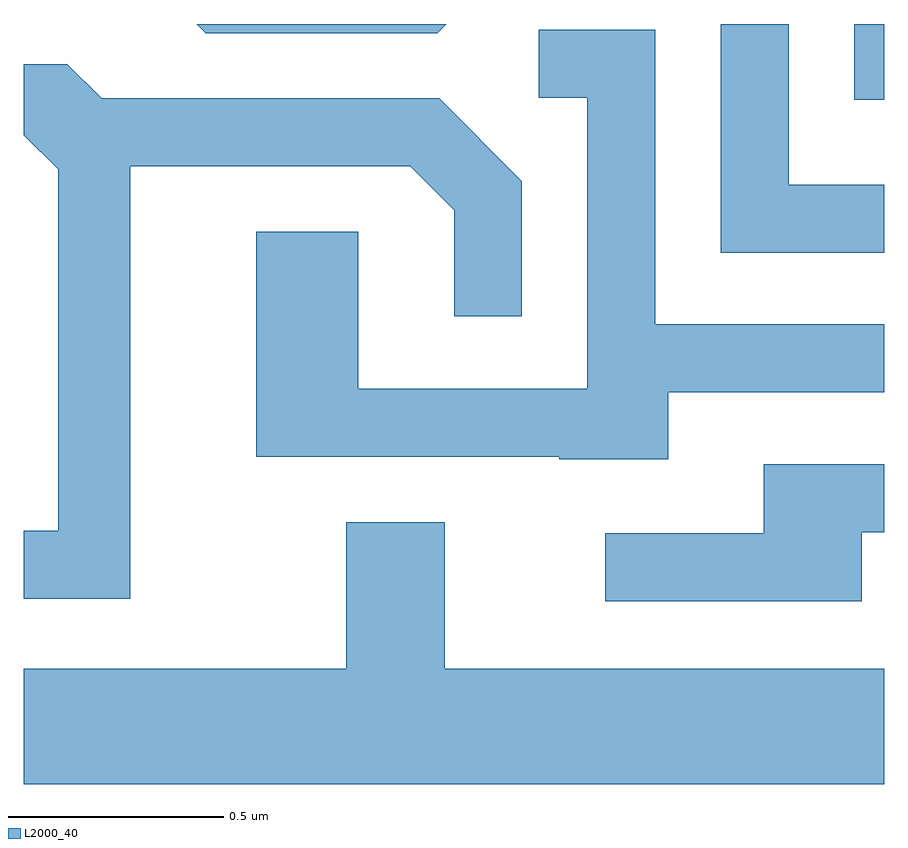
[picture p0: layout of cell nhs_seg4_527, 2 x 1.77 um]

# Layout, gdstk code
import gdstk
lib = gdstk.Library(unit=1e-6, precision=1e-09)
def R(c, l, rs):  # rectangles x0, y0, x1, y1
    for r in rs: c.add(gdstk.rectangle(r[:2], r[2:], *l))
def P(c, l, *ps):  # polygons
    for p in ps: c.add(gdstk.Polygon(p, *l))
L2000_40 = (2000, 40)

nhs_seg4_527 = lib.new_cell('nhs_seg4_527')
R(nhs_seg4_527, L2000_40, [(190.541,1371.806,190.611,1371.982)])
P(nhs_seg4_527, L2000_40, [(189.593,1371.982),(189.013,1371.982),(189.034,1371.961),(189.572,1371.961)],
  [(190.611,1371.609),(190.389,1371.609),(190.389,1371.982),(190.231,1371.982),(190.231,1371.451),(190.611,1371.451)],
  [(190.109,1371.126),(190.611,1371.126),(190.611,1371.284),(190.079,1371.284),(190.079,1371.969),(189.808,1371.969),(189.808,1371.811),(189.921,1371.811),(189.921,1371.134),(189.389,1371.134),(189.389,1371.499),(189.151,1371.499),(189.151,1370.976),(189.855,1370.976),(189.855,1370.971),(190.109,1370.971)],
  [(188.859,1371.651),(189.509,1371.651),(189.611,1371.549),(189.611,1371.303),(189.769,1371.303),(189.769,1371.617),(189.577,1371.809),(188.792,1371.809),(188.712,1371.889),(188.611,1371.889),(188.611,1371.724),(188.691,1371.644),(188.691,1370.804),(188.611,1370.804),(188.611,1370.646),(188.859,1370.646)],
  [(190.559,1370.801),(190.611,1370.801),(190.611,1370.959),(190.331,1370.959),(190.331,1370.799),(189.963,1370.799),(189.963,1370.641),(190.559,1370.641)],
  [(190.611,1370.484),(189.589,1370.484),(189.589,1370.824),(189.361,1370.824),(189.361,1370.484),(188.611,1370.484),(188.611,1370.216),(190.611,1370.216)])

lib.write_gds('nhs_seg4_527.gds')
